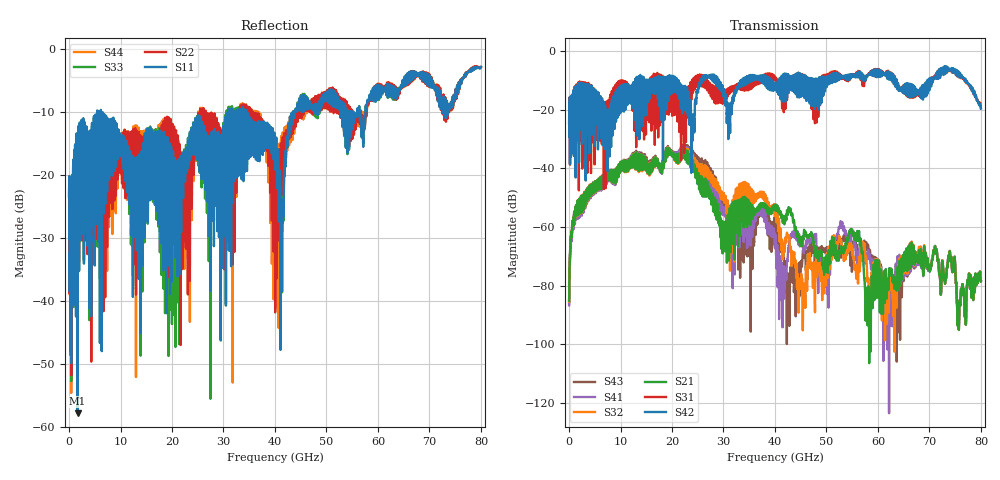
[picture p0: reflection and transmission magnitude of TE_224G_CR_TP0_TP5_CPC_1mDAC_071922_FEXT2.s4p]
!! Reference: tracy_3df_01_2211
!! CHANNEL DESCRIPTION: TP0_TP5 CR Channel using 1meter DAC, CoPackage Copper Host
!! MODEL DESCRIPTION: s4p, FEXT2
!! CONNECTOR DESCRIPTION: OSFP 200G OTB
!! CABLE DESCRIPTION: 1meter 26AWG Cable
!! MODEL STATUS: Developmental
!! PORT DEFINITIONS:
!! Port  1  ----->  Side A  Side B  <-----  Port  2
!! Port  3  ----->  Side A  Side B  <-----  Port  4
# Hz S MA R 50
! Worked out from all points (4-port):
!   8000 points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, 10 MHz to 80 GHz, reference 50 ohm
!   strongest paths, dB at 10 MHz, 20.01 GHz, 40.01 GHz, 60.01 GHz, 80 GHz:
!     S42: -24.7, -13.4, -13.3, -8.7, -19.7
!     S31: -24.6, -20.2, -10.1, -8.2, -19.3
!     S21: -85.3, -35.0, -54.2, -83.5, -78.5
!     S32: -85.5, -35.0, -55.8, -77.3, -78.5
!     S41: -86.7, -34.6, -65.2, -80.0, -78.6
!     S43: -86.0, -34.3, -65.2, -74.7, -78.6
!   lowest |S11| = -57.8 dB at 1.64 GHz (marker M1), VSWR 1.00, Z = 49.9 - j0.00396 ohm
!   |S11| at or under -10 dB: start of sweep to 5.488 GHz; 6.171 GHz to 30.97 GHz (24.8 GHz wide, 134 % of centre); 34.4 GHz to 43.55 GHz (9.158 GHz wide, 23.5 % of centre)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
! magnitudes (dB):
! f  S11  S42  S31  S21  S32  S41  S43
! 10 MHz  -23.3  -24.7  -24.6  -85.3  -85.5  -86.7  -86.0
! 1.64 GHz  -57.8  -21.1  -19.6  -52.4  -52.3  -53.2  -52.6
! 22.37 GHz  -17.4  -20.1  -32.9  -33.2  -32.9  -32.2  -31.7
! 29.93 GHz  -13.4  -13.9  -14.5  -66.3  -50.3  -55.8  -52.4
! 42.57 GHz  -12.7  -9.3  -10.5  -54.6  -62.9  -68.1  -78.7
! 57.88 GHz  -8.6  -8.7  -8.3  -82.7  -75.1  -70.8  -68.0
! 80 GHz  -2.9  -19.7  -19.3  -78.5  -78.5  -78.6  -78.6
